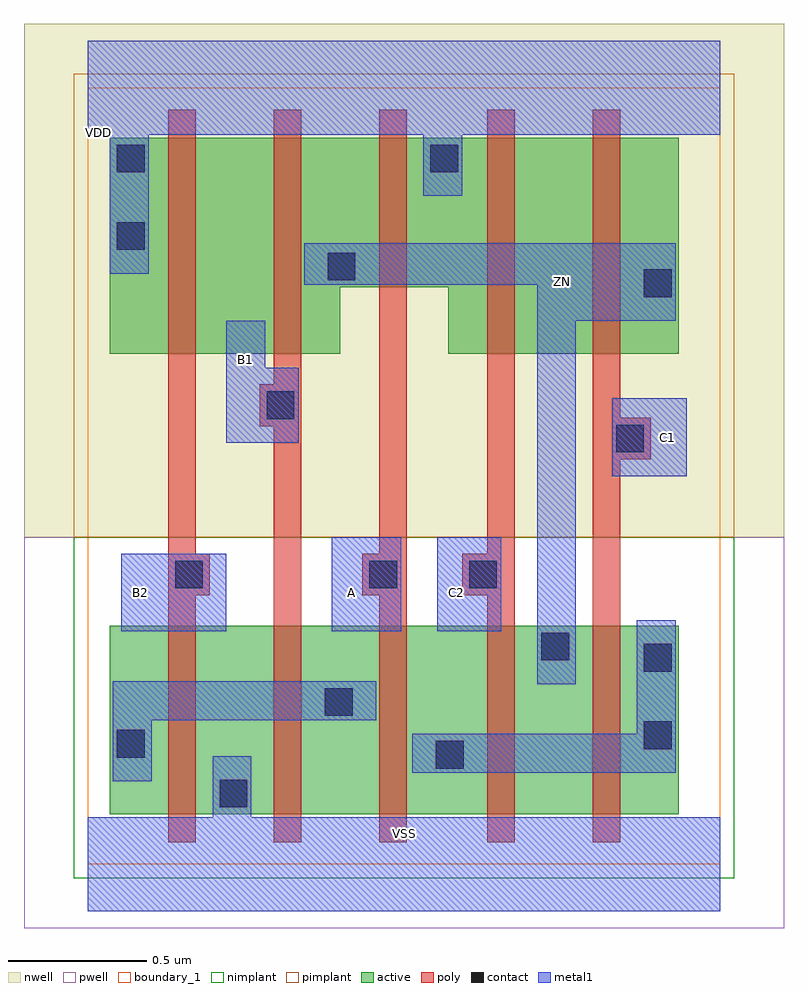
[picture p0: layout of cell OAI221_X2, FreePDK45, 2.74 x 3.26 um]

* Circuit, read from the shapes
.subckt OAI221_X2 A B1 B2 C1 C2 VDD VSS ZN
M1 VSS B2 n1 VSUBS nfet w=0.68u l=0.1u
M2 n1 B1 VSS VSUBS nfet w=0.68u l=0.1u
M3 n2 A n1 VSUBS nfet w=0.68u l=0.1u
M4 ZN C2 n2 VSUBS nfet w=0.68u l=0.1u
M5 n2 C1 ZN VSUBS nfet w=0.68u l=0.1u
M6 n3 B2 VDD n4 pfet w=0.78u l=0.1u
M7 ZN B1 n3 n4 pfet w=0.78u l=0.1u
M8 VDD A ZN n4 pfet w=0.54u l=0.1u
M9 n5 C2 VDD n4 pfet w=0.78u l=0.1u
M10 ZN C1 n5 n4 pfet w=0.78u l=0.1u
.ends

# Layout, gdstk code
import gdstk
lib = gdstk.Library(unit=1e-6, precision=1e-09)
def R(c, l, rs):  # rectangles x0, y0, x1, y1
    for r in rs: c.add(gdstk.rectangle(r[:2], r[2:], *l))
def P(c, l, *ps):  # polygons
    for p in ps: c.add(gdstk.Polygon(p, *l))
active = (1, 0)
pwell = (2, 0)
nwell = (3, 0)
nimplant = (4, 0)
pimplant = (5, 0)
poly = (9, 0)
contact = (10, 0)
metal1 = (11, 0)
boundary_1 = (235, 1)

oai221_x2 = lib.new_cell('OAI221_X2')
R(oai221_x2, active, [(0.08,0.18,2.13,0.86)])
P(oai221_x2, active, [(0.08,1.84),(0.91,1.84),(0.91,2.08),(1.3,2.08),(1.3,1.84),(2.13,1.84),(2.13,2.62),(0.08,2.62)])
R(oai221_x2, pwell, [(-0.23,-0.23,2.51,1.18)])
R(oai221_x2, nwell, [(-0.23,1.18,2.51,3.03)])
R(oai221_x2, nimplant, [(-0.05,-0.05,2.33,1.18)])
R(oai221_x2, pimplant, [(-0.05,1.18,2.33,2.85)])
P(oai221_x2, poly, [(1.82,0.08),(1.92,0.08),(1.92,1.46),(2.03,1.46),(2.03,1.61),(1.92,1.61),(1.92,2.72),(1.82,2.72)],
  [(1.35,0.97),(1.44,0.97),(1.44,0.08),(1.54,0.08),(1.54,2.72),(1.44,2.72),(1.44,1.12),(1.35,1.12)],
  [(0.99,0.97),(1.05,0.97),(1.05,0.08),(1.15,0.08),(1.15,2.72),(1.05,2.72),(1.05,1.12),(0.99,1.12)],
  [(0.62,1.58),(0.67,1.58),(0.67,0.08),(0.77,0.08),(0.77,2.72),(0.67,2.72),(0.67,1.73),(0.62,1.73)],
  [(0.29,0.08),(0.39,0.08),(0.39,0.97),(0.44,0.97),(0.44,1.12),(0.39,1.12),(0.39,2.72),(0.29,2.72)])
R(oai221_x2, contact, [(0.475,0.205,0.575,0.305), (1.255,0.345,1.355,0.445), (0.105,0.385,0.205,0.485), (2.005,0.415,2.105,0.515), (0.855,0.535,0.955,0.635), (2.005,0.695,2.105,0.795), (1.635,0.735,1.735,0.835), (0.315,0.995,0.415,1.095), (1.015,0.995,1.115,1.095), (1.375,0.995,1.475,1.095), (1.905,1.485,2.005,1.585), (0.645,1.605,0.745,1.705), (2.005,2.045,2.105,2.145), (0.865,2.105,0.965,2.205), (0.105,2.215,0.205,2.315), (0.105,2.495,0.205,2.595), (1.235,2.495,1.335,2.595)])
R(oai221_x2, metal1, [(0.12,0.84,0.5,1.12), (0.12,0.84,0.5,1.12), (0.88,0.84,1.13,1.18), (0.88,0.84,1.13,1.18), (1.26,0.84,1.49,1.18), (1.26,0.84,1.49,1.18), (1.89,1.4,2.16,1.68), (1.89,1.4,2.16,1.68)])
P(oai221_x2, metal1, [(0,-0.17),(2.28,-0.17),(2.28,0.17),(0.59,0.17),(0.59,0.39),(0.45,0.39),(0.45,0.17),(0,0.17)],
  [(0.78,2.09),(1.62,2.09),(1.62,0.65),(1.76,0.65),(1.76,1.96),(2.12,1.96),(2.12,2.24),(0.78,2.24)],
  [(0.5,1.52),(0.76,1.52),(0.76,1.79),(0.64,1.79),(0.64,1.96),(0.5,1.96)],
  [(0,2.63),(0.08,2.63),(0.08,2.13),(0.22,2.13),(0.22,2.63),(1.21,2.63),(1.21,2.41),(1.35,2.41),(1.35,2.63),(2.28,2.63),(2.28,2.97),(0,2.97)],
  [(0,2.63),(0.08,2.63),(0.08,2.13),(0.22,2.13),(0.22,2.63),(1.21,2.63),(1.21,2.41),(1.35,2.41),(1.35,2.63),(2.28,2.63),(2.28,2.97),(0,2.97)],
  [(0,-0.17),(2.28,-0.17),(2.28,0.17),(0.59,0.17),(0.59,0.39),(0.45,0.39),(0.45,0.17),(0,0.17)],
  [(0.78,2.09),(1.62,2.09),(1.62,0.65),(1.76,0.65),(1.76,1.96),(2.12,1.96),(2.12,2.24),(0.78,2.24)],
  [(1.17,0.33),(2.12,0.33),(2.12,0.88),(1.98,0.88),(1.98,0.47),(1.17,0.47)],
  [(0.09,0.3),(0.23,0.3),(0.23,0.52),(1.04,0.52),(1.04,0.66),(0.09,0.66)],
  [(0.5,1.52),(0.76,1.52),(0.76,1.79),(0.64,1.79),(0.64,1.96),(0.5,1.96)])
R(oai221_x2, boundary_1, [(0,0,2.28,2.8)])
oai221_x2.add(gdstk.Label('ZN', (1.71,2.1), layer=11, texttype=0))
oai221_x2.add(gdstk.Label('VSS', (1.14,0.11), layer=11, texttype=0))
oai221_x2.add(gdstk.Label('VDD', (0.04,2.64), layer=11, texttype=0))
oai221_x2.add(gdstk.Label('C2', (1.33,0.98), layer=11, texttype=0))
oai221_x2.add(gdstk.Label('C1', (2.09,1.54), layer=11, texttype=0))
oai221_x2.add(gdstk.Label('B2', (0.19,0.98), layer=11, texttype=0))
oai221_x2.add(gdstk.Label('B1', (0.57,1.82), layer=11, texttype=0))
oai221_x2.add(gdstk.Label('A', (0.95,0.98), layer=11, texttype=0))

lib.write_gds('OAI221_X2.gds')
